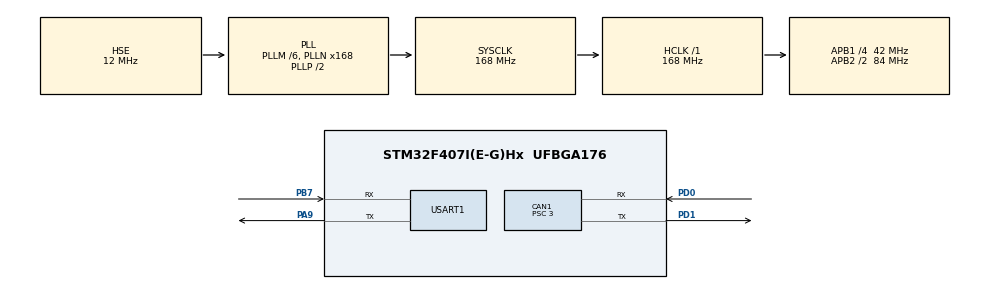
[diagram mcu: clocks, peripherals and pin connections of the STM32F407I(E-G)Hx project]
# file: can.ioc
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CAN1.BS1=CAN_BS1_10TQ
CAN1.BS2=CAN_BS2_3TQ
CAN1.CalculateBaudRate=1000000
CAN1.CalculateTimeBit=1000
CAN1.CalculateTimeQuantum=71.42857142857143
CAN1.Mode=CAN_MODE_NORMAL
CAN1.Prescaler=3
Mcu.Family=STM32F4
Mcu.Name=STM32F407I(E-G)Hx
Mcu.Package=UFBGA176
NVIC.CAN1_RX0_IRQn=true\:0\:0\:false\:false\:true\:true\:true\:true
NVIC.PriorityGroup=NVIC_PRIORITYGROUP_4
PA13.Mode=Serial_Wire
PA13.Signal=SYS_JTMS-SWDIO
PA14.Mode=Serial_Wire
PA14.Signal=SYS_JTCK-SWCLK
PA9.Mode=Asynchronous
PA9.Signal=USART1_TX
PB7.Mode=Asynchronous
PB7.Signal=USART1_RX
PD0.Mode=CAN_Activate
PD0.Signal=CAN1_RX
PD1.Mode=CAN_Activate
PD1.Signal=CAN1_TX
PH0-OSC_IN.Mode=HSE-External-Oscillator
PH0-OSC_IN.Signal=RCC_OSC_IN
PH1-OSC_OUT.Mode=HSE-External-Oscillator
PH1-OSC_OUT.Signal=RCC_OSC_OUT
ProjectManager.HeapSize=0x200
ProjectManager.StackSize=0x400
ProjectManager.TargetToolchain=CMake
RCC.48MHZClocksFreq_Value=84000000
RCC.AHBFreq_Value=168000000
RCC.APB1CLKDivider=RCC_HCLK_DIV4
RCC.APB1Freq_Value=42000000
RCC.APB1TimFreq_Value=84000000
RCC.APB2CLKDivider=RCC_HCLK_DIV2
RCC.APB2Freq_Value=84000000
RCC.APB2TimFreq_Value=168000000
RCC.CortexFreq_Value=168000000
RCC.HCLKFreq_Value=168000000
RCC.HSE_VALUE=12000000
RCC.HSI_VALUE=16000000
RCC.LSE_VALUE=32768
RCC.PLLM=6
RCC.PLLN=168
RCC.PLLSourceVirtual=RCC_PLLSOURCE_HSE
RCC.SYSCLKFreq_VALUE=168000000
RCC.SYSCLKSource=RCC_SYSCLKSOURCE_PLLCLK
RCC.VCOOutputFreq_Value=336000000
USART1.VirtualMode=VM_ASYNC
board=custom

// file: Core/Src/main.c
/* USER CODE BEGIN Header */
/**
 ******************************************************************************
 * @file           : main.c
 * @brief          : Main program body
 ******************************************************************************
 * @attention
 *
 * Copyright (c) 2026 STMicroelectronics.
 * All rights reserved.
 *
 * This software is licensed under terms that can be found in the LICENSE file
 * in the root directory of this software component.
 * If no LICENSE file comes with this software, it is provided AS-IS.
 *
 ******************************************************************************
 */
/* USER CODE END Header */
#include "main.h"
#include "can.h"
#include "usart.h"
#include "gpio.h"

/* USER CODE BEGIN Includes */
#include "app_c620_demo.h"
#include "can_ex.h"

/* USER CODE END Includes */

/* USER CODE BEGIN PTD */
static CAN_HandleTypeDefEx *g_hcan1_ex;
/* USER CODE END PTD */

void SystemClock_Config(void);

int main(void)
{

  /* MCU Configuration--------------------------------------------------------*/

  /* Reset of all peripherals, Initializes the Flash interface and the Systick. */
  HAL_Init();

  /* Configure the system clock */
  SystemClock_Config();

  /* Initialize all configured peripherals */
  MX_GPIO_Init();
  MX_CAN1_Init();
  MX_USART1_UART_Init();
  /* USER CODE BEGIN 2 */
  g_hcan1_ex = CAN_Create(&hcan1, CAN_PLATFORM_STM32F4);
  if (g_hcan1_ex == NULL) {
    Error_Handler();
  }
  if (CAN_EnableInterrupt(g_hcan1_ex, CAN_IT_RX_FIFO0_MSG_PENDING) != CAN_OK) {
    Error_Handler();
  }
  if (!App_C620Demo_Init(&hcan1)) {
    Error_Handler();
  }
  /* USER CODE END 2 */

  /* Infinite loop */
  /* USER CODE BEGIN WHILE */
  while (1) {
    App_C620Demo_Process();
    /* USER CODE END WHILE */

  }
}

void SystemClock_Config(void)
{
  RCC_OscInitTypeDef RCC_OscInitStruct = {0};
  RCC_ClkInitTypeDef RCC_ClkInitStruct = {0};

  /** Configure the main internal regulator output voltage
  */
  __HAL_RCC_PWR_CLK_ENABLE();
  __HAL_PWR_VOLTAGESCALING_CONFIG(PWR_REGULATOR_VOLTAGE_SCALE1);

  /** Initializes the RCC Oscillators according to the specified parameters
  * in the RCC_OscInitTypeDef structure.
  */
  RCC_OscInitStruct.OscillatorType = RCC_OSCILLATORTYPE_HSE;
  RCC_OscInitStruct.HSEState = RCC_HSE_ON;
  RCC_OscInitStruct.PLL.PLLState = RCC_PLL_ON;
  RCC_OscInitStruct.PLL.PLLSource = RCC_PLLSOURCE_HSE;
  RCC_OscInitStruct.PLL.PLLM = 6;
  RCC_OscInitStruct.PLL.PLLN = 168;
  RCC_OscInitStruct.PLL.PLLP = RCC_PLLP_DIV2;
  RCC_OscInitStruct.PLL.PLLQ = 4;
  if (HAL_RCC_OscConfig(&RCC_OscInitStruct) != HAL_OK)
  {
    Error_Handler();
  }

  /** Initializes the CPU, AHB and APB buses clocks
  */
  RCC_ClkInitStruct.ClockType = RCC_CLOCKTYPE_HCLK|RCC_CLOCKTYPE_SYSCLK
                              |RCC_CLOCKTYPE_PCLK1|RCC_CLOCKTYPE_PCLK2;
  RCC_ClkInitStruct.SYSCLKSource = RCC_SYSCLKSOURCE_PLLCLK;
  RCC_ClkInitStruct.AHBCLKDivider = RCC_SYSCLK_DIV1;
  RCC_ClkInitStruct.APB1CLKDivider = RCC_HCLK_DIV4;
  RCC_ClkInitStruct.APB2CLKDivider = RCC_HCLK_DIV2;

  if (HAL_RCC_ClockConfig(&RCC_ClkInitStruct, FLASH_LATENCY_5) != HAL_OK)
  {
    Error_Handler();
  }
}

/* USER CODE BEGIN 4 */

void HAL_CAN_RxFifo0MsgPendingCallback(CAN_HandleTypeDef *hcan) {
  // 处理FIFO中所有待处理消息
  while (HAL_CAN_GetRxFifoFillLevel(hcan, CAN_RX_FIFO0) > 0) {
    CAN_RxHeaderTypeDef rx_header;
    uint8_t rx_data[8] = {0};

    if (HAL_CAN_GetRxMessage(hcan, CAN_RX_FIFO0, &rx_header, rx_data) !=
        HAL_OK) {
      break;
    }

    App_C620Demo_OnCanRxMessage(hcan, &rx_header, rx_data);
  }
}
/* USER CODE END 4 */

void Error_Handler(void)
{
  __disable_irq();
  while (1) {
  }
}
#ifdef USE_FULL_ASSERT
/**
  * @brief  Reports the name of the source file and the source line number
  *         where the assert_param error has occurred.
  * @param  file: pointer to the source file name
  * @param  line: assert_param error line source number
  * @retval None
  */
void assert_failed(uint8_t *file, uint32_t line)
{
  /* USER CODE BEGIN 6 */
  /* User can add his own implementation to report the file name and line
     number, ex: printf("Wrong parameters value: file %s on line %d\r\n", file,
     line) */
  /* USER CODE END 6 */
}
#endif /* USE_FULL_ASSERT */
